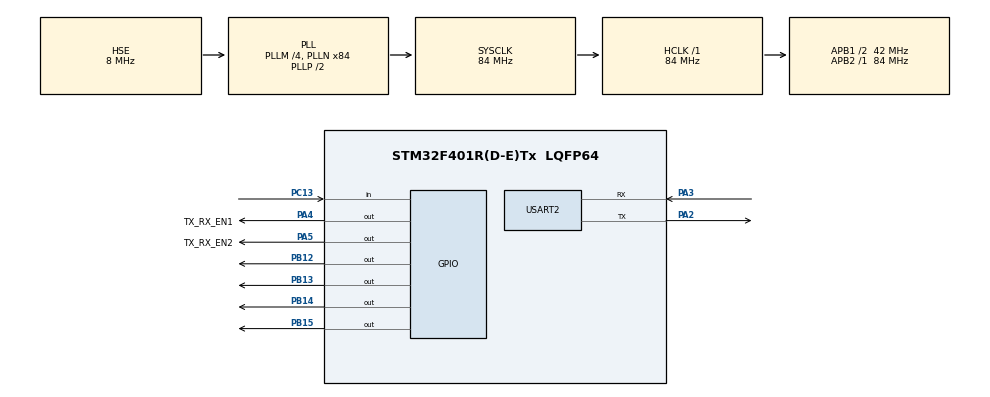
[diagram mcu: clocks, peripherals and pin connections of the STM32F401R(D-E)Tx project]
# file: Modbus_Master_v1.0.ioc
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Mcu.Family=STM32F4
Mcu.Name=STM32F401R(D-E)Tx
Mcu.Package=LQFP64
NVIC.PriorityGroup=NVIC_PRIORITYGROUP_4
NVIC.TIM2_IRQn=true\:0\:0\:false\:false\:true\:true\:true\:true
NVIC.USART2_IRQn=true\:0\:0\:false\:false\:true\:true\:true\:true
PA2.Mode=Asynchronous
PA2.Signal=USART2_TX
PA3.Mode=Asynchronous
PA3.Signal=USART2_RX
PA4.GPIO_Label=TX_RX_EN1
PA4.Signal=GPIO_Output
PA5.GPIO_Label=TX_RX_EN2
PA5.Signal=GPIO_Output
PB12.Signal=GPIO_Output
PB13.Signal=GPIO_Output
PB14.Signal=GPIO_Output
PB15.Signal=GPIO_Output
PC13-ANTI_TAMP.GPIO_PuPd=GPIO_PULLUP
PC13-ANTI_TAMP.Signal=GPIO_Input
PH0\ -\ OSC_IN.Mode=HSE-External-Oscillator
PH0\ -\ OSC_IN.Signal=RCC_OSC_IN
PH1\ -\ OSC_OUT.Mode=HSE-External-Oscillator
PH1\ -\ OSC_OUT.Signal=RCC_OSC_OUT
ProjectManager.HeapSize=0x200
ProjectManager.StackSize=0x400
ProjectManager.TargetToolchain=STM32CubeIDE
RCC.48MHZClocksFreq_Value=42000000
RCC.AHBFreq_Value=84000000
RCC.APB1CLKDivider=RCC_HCLK_DIV2
RCC.APB1Freq_Value=42000000
RCC.APB1TimFreq_Value=84000000
RCC.APB2Freq_Value=84000000
RCC.APB2TimFreq_Value=84000000
RCC.CortexFreq_Value=84000000
RCC.HCLKFreq_Value=84000000
RCC.HSE_VALUE=8000000
RCC.HSI_VALUE=16000000
RCC.LSE_VALUE=32768
RCC.PLLM=4
RCC.PLLN=84
RCC.PLLSourceVirtual=RCC_PLLSOURCE_HSE
RCC.SYSCLKFreq_VALUE=84000000
RCC.SYSCLKSource=RCC_SYSCLKSOURCE_PLLCLK
RCC.VCOOutputFreq_Value=168000000
TIM2.Period=999
TIM2.Prescaler=83
USART2.VirtualMode=VM_ASYNC
VP_TIM2_VS_ClockSourceINT.Mode=Internal
board=custom

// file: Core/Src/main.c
/* USER CODE BEGIN Header */
/**
  ******************************************************************************
  * @file           : main.c
  * @brief          : Main program body
  ******************************************************************************
  * @attention
  *
  * Copyright (c) 2025 STMicroelectronics.
  * All rights reserved.
  *
  * This software is licensed under terms that can be found in the LICENSE file
  * in the root directory of this software component.
  * If no LICENSE file comes with this software, it is provided AS-IS.
  *
  ******************************************************************************
  */
/* USER CODE END Header */
#include "main.h"

/* USER CODE BEGIN Includes */
#include "uart_qrbcom.h"
#include "timer_ex.h"
#include "modbus_crc16.h"
#include "modbus_ex.h"
/* USER CODE END Includes */

TIM_HandleTypeDef htim2;

UART_HandleTypeDef huart2;

/* USER CODE BEGIN PV */
sTickTime_t message_time = {0};
uint32_t second = 0;
sModbus_t modbus = {.state = eModbusState_Idle, .mode = eModbusMode_RTU};
/* USER CODE END PV */

void SystemClock_Config(void);
static void MX_GPIO_Init(void);
static void MX_TIM2_Init(void);
static void MX_USART2_UART_Init(void);

int main(void)
{

  /* MCU Configuration--------------------------------------------------------*/

  /* Reset of all peripherals, Initializes the Flash interface and the Systick. */
  HAL_Init();

  /* Configure the system clock */
  SystemClock_Config();

  /* Initialize all configured peripherals */
  MX_GPIO_Init();
  MX_TIM2_Init();
  MX_USART2_UART_Init();
  /* USER CODE BEGIN 2 */
  if(UARTx_Cell_Comm_Init() == false)
  {
	  Error_Handler();
  }

  if(TickTimer_Init(&message_time,1000)== false)
  {
	  Error_Handler();
  }

  HAL_TIM_Base_Start_IT(&htim2);

  /* USER CODE END 2 */

  /* Infinite loop */
  while (1)
  {

    /* USER CODE BEGIN 3 */
	  if(TickTimer_CheckElapsedTime(&message_time))
	  {
		  second++;
		  TickTimer_Set(&message_time, 1000);
	  }
	  if(HAL_GPIO_ReadPin(GPIOC, GPIO_PIN_13) == GPIO_PIN_RESET)
	  {
		  HAL_Delay(100);
		  Modbus_ReadInputRegisters(&modbus,5,0,5);
	  }
	  Modbus_Master_Control(&modbus);
  }
  /* USER CODE END 3 */
}

void SystemClock_Config(void)
{
  RCC_OscInitTypeDef RCC_OscInitStruct = {0};
  RCC_ClkInitTypeDef RCC_ClkInitStruct = {0};

  /** Configure the main internal regulator output voltage
  */
  __HAL_RCC_PWR_CLK_ENABLE();
  __HAL_PWR_VOLTAGESCALING_CONFIG(PWR_REGULATOR_VOLTAGE_SCALE2);

  /** Initializes the RCC Oscillators according to the specified parameters
  * in the RCC_OscInitTypeDef structure.
  */
  RCC_OscInitStruct.OscillatorType = RCC_OSCILLATORTYPE_HSE;
  RCC_OscInitStruct.HSEState = RCC_HSE_ON;
  RCC_OscInitStruct.PLL.PLLState = RCC_PLL_ON;
  RCC_OscInitStruct.PLL.PLLSource = RCC_PLLSOURCE_HSE;
  RCC_OscInitStruct.PLL.PLLM = 4;
  RCC_OscInitStruct.PLL.PLLN = 84;
  RCC_OscInitStruct.PLL.PLLP = RCC_PLLP_DIV2;
  RCC_OscInitStruct.PLL.PLLQ = 4;
  if (HAL_RCC_OscConfig(&RCC_OscInitStruct) != HAL_OK)
  {
    Error_Handler();
  }

  /** Initializes the CPU, AHB and APB buses clocks
  */
  RCC_ClkInitStruct.ClockType = RCC_CLOCKTYPE_HCLK|RCC_CLOCKTYPE_SYSCLK
                              |RCC_CLOCKTYPE_PCLK1|RCC_CLOCKTYPE_PCLK2;
  RCC_ClkInitStruct.SYSCLKSource = RCC_SYSCLKSOURCE_PLLCLK;
  RCC_ClkInitStruct.AHBCLKDivider = RCC_SYSCLK_DIV1;
  RCC_ClkInitStruct.APB1CLKDivider = RCC_HCLK_DIV2;
  RCC_ClkInitStruct.APB2CLKDivider = RCC_HCLK_DIV1;

  if (HAL_RCC_ClockConfig(&RCC_ClkInitStruct, FLASH_LATENCY_2) != HAL_OK)
  {
    Error_Handler();
  }
}

static void MX_TIM2_Init(void)
{

  TIM_ClockConfigTypeDef sClockSourceConfig = {0};
  TIM_MasterConfigTypeDef sMasterConfig = {0};

  htim2.Instance = TIM2;
  htim2.Init.Prescaler = 83;
  htim2.Init.CounterMode = TIM_COUNTERMODE_UP;
  htim2.Init.Period = 999;
  htim2.Init.ClockDivision = TIM_CLOCKDIVISION_DIV1;
  htim2.Init.AutoReloadPreload = TIM_AUTORELOAD_PRELOAD_DISABLE;
  if (HAL_TIM_Base_Init(&htim2) != HAL_OK)
  {
    Error_Handler();
  }
  sClockSourceConfig.ClockSource = TIM_CLOCKSOURCE_INTERNAL;
  if (HAL_TIM_ConfigClockSource(&htim2, &sClockSourceConfig) != HAL_OK)
  {
    Error_Handler();
  }
  sMasterConfig.MasterOutputTrigger = TIM_TRGO_RESET;
  sMasterConfig.MasterSlaveMode = TIM_MASTERSLAVEMODE_DISABLE;
  if (HAL_TIMEx_MasterConfigSynchronization(&htim2, &sMasterConfig) != HAL_OK)
  {
    Error_Handler();
  }

}

static void MX_USART2_UART_Init(void)
{

  huart2.Instance = USART2;
  huart2.Init.BaudRate = 115200;
  huart2.Init.WordLength = UART_WORDLENGTH_8B;
  huart2.Init.StopBits = UART_STOPBITS_1;
  huart2.Init.Parity = UART_PARITY_NONE;
  huart2.Init.Mode = UART_MODE_TX_RX;
  huart2.Init.HwFlowCtl = UART_HWCONTROL_NONE;
  huart2.Init.OverSampling = UART_OVERSAMPLING_16;
  if (HAL_UART_Init(&huart2) != HAL_OK)
  {
    Error_Handler();
  }

}

static void MX_GPIO_Init(void)
{
  GPIO_InitTypeDef GPIO_InitStruct = {0};

  /* GPIO Ports Clock Enable */
  __HAL_RCC_GPIOC_CLK_ENABLE();
  __HAL_RCC_GPIOH_CLK_ENABLE();
  __HAL_RCC_GPIOA_CLK_ENABLE();
  __HAL_RCC_GPIOB_CLK_ENABLE();

  /*Configure GPIO pin Output Level */
  HAL_GPIO_WritePin(GPIOA, TX_RX_EN1_Pin|TX_RX_EN2_Pin, GPIO_PIN_RESET);

  /*Configure GPIO pin Output Level */
  HAL_GPIO_WritePin(GPIOB, GPIO_PIN_12|GPIO_PIN_13|GPIO_PIN_14|GPIO_PIN_15, GPIO_PIN_RESET);

  /*Configure GPIO pin : PC13 */
  GPIO_InitStruct.Pin = GPIO_PIN_13;
  GPIO_InitStruct.Mode = GPIO_MODE_INPUT;
  GPIO_InitStruct.Pull = GPIO_PULLUP;
  HAL_GPIO_Init(GPIOC, &GPIO_InitStruct);

  /*Configure GPIO pins : TX_RX_EN1_Pin TX_RX_EN2_Pin */
  GPIO_InitStruct.Pin = TX_RX_EN1_Pin|TX_RX_EN2_Pin;
  GPIO_InitStruct.Mode = GPIO_MODE_OUTPUT_PP;
  GPIO_InitStruct.Pull = GPIO_NOPULL;
  GPIO_InitStruct.Speed = GPIO_SPEED_FREQ_LOW;
  HAL_GPIO_Init(GPIOA, &GPIO_InitStruct);

  /*Configure GPIO pins : PB12 PB13 PB14 PB15 */
  GPIO_InitStruct.Pin = GPIO_PIN_12|GPIO_PIN_13|GPIO_PIN_14|GPIO_PIN_15;
  GPIO_InitStruct.Mode = GPIO_MODE_OUTPUT_PP;
  GPIO_InitStruct.Pull = GPIO_NOPULL;
  GPIO_InitStruct.Speed = GPIO_SPEED_FREQ_LOW;
  HAL_GPIO_Init(GPIOB, &GPIO_InitStruct);

}

void Error_Handler(void)
{
  __disable_irq();
  while (1)
  {
  }
}
